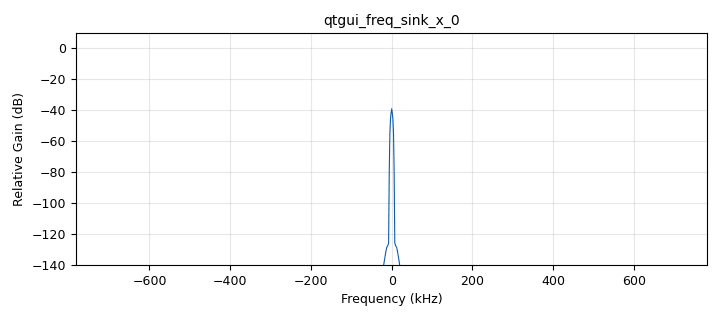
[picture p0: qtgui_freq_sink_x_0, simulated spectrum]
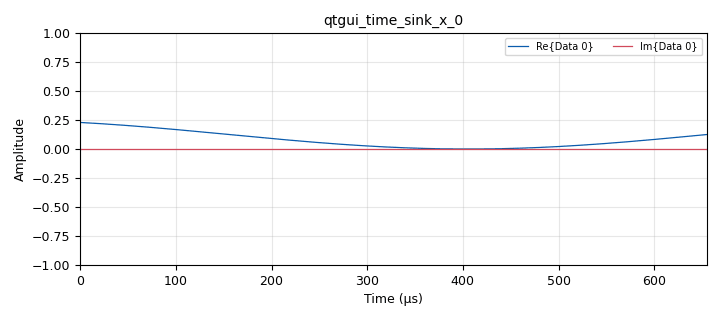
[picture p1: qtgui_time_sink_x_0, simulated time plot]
options:
  parameters:
    author: labcomu
    generate_options: qt_gui
    id: AM
    output_language: python
    title: Not titled yet
  states: {}

blocks:
- name: Ac
  id: variable_qtgui_range
  parameters:
    label: Amplitud de la portadora
    start: '0'
    step: '1e-3'
    stop: '1'
    value: '125e-3'
  states: {}
- name: Am
  id: variable_qtgui_range
  parameters:
    label: Amplitud del mensaje
    start: '0'
    step: '100e-3'
    stop: '4'
    value: '1'
  states: {}
- name: Am_0
  id: variable_qtgui_range
  parameters:
    label: Amplitud del mensaje
    start: '0'
    step: '100e-3'
    stop: '4'
    value: '1'
  states: {}
- name: B
  id: variable_qtgui_range
  parameters:
    label: Cambio de banda
    start: '-1'
    step: '2'
    stop: '1'
    value: '1'
  states: {}
- name: Fc
  id: variable_qtgui_range
  parameters:
    label: Frecuencia de portadora
    start: 50e6
    step: 1e6
    stop: 2.2e9
    value: 50e6
  states: {}
- name: Fm
  id: variable_qtgui_range
  parameters:
    label: Frecuencia del mensaje
    start: '300'
    step: '100'
    stop: samp_rate/4
    value: 1e3
  states: {}
- name: GTX
  id: variable_qtgui_range
  parameters:
    label: Ganancia de transmisión
    start: '0'
    step: '1'
    stop: '30'
    value: '0'
  states: {}
- name: K
  id: variable_qtgui_range
  parameters:
    label: Habilita portadora
    start: '0'
    step: '1'
    stop: '1'
    value: '1'
  states: {}
- name: samp_rate
  id: variable
  parameters:
    value: 12500000/8
  states: {}
- name: Ac
  id: parameter
  parameters:
    label: Amplitud portadora
    type: complex
    value: '1'
  states: {state: disabled}
- name: analog_sig_source_x_0
  id: analog_sig_source_x
  parameters:
    amp: Am
    freq: Fm
    offset: '0'
    phase: '0'
    samp_rate: samp_rate
    type: float
    waveform: analog.GR_SIN_WAVE
  states: {}
- name: blocks_add_const_vxx_0
  id: blocks_add_const_vxx
  parameters:
    alias: blovks_add_const_vxx_0
    const: '1'
    type: float
  states: {}
- name: blocks_float_to_complex_0
  id: blocks_float_to_complex
  parameters: {}
  states: {}
- name: blocks_multiply_const_vxx_0
  id: blocks_multiply_const_vxx
  parameters:
    alias: blocks_multiply_const_vxx_0
    const: ka
    type: float
  states: {}
- name: blocks_multiply_const_vxx_1
  id: blocks_multiply_const_vxx
  parameters:
    alias: blocks_multiply_const_vxx_1
    const: Ac
    type: complex
  states: {}
- name: blocks_null_source_0
  id: blocks_null_source
  parameters:
    alias: blocks_null_source_0
    type: float
  states: {}
- name: ka
  id: parameter
  parameters:
    label: Coeficiente ka
    type: eng_float
    value: '1'
  states: {}
- name: qtgui_freq_sink_x_0
  id: qtgui_freq_sink_x
  parameters:
    bw: samp_rate
    fc: '0'
    fftsize: '1024'
    type: complex
  states: {}
- name: qtgui_time_sink_x_0
  id: qtgui_time_sink_x
  parameters:
    size: '1024'
    srate: samp_rate
    type: complex
  states: {}
- name: uhd_usrp_sink_0
  id: uhd_usrp_sink
  parameters:
    ant0: '"TX/RX"'
    center_freq0: Fc
    gain0: GTX
    samp_rate: samp_rate
    sync: pc_clock
    type: fc32
  states: {}

connections:
- [analog_sig_source_x_0, '0', blocks_multiply_const_vxx_0, '0']
- [blocks_add_const_vxx_0, '0', blocks_float_to_complex_0, '0']
- [blocks_float_to_complex_0, '0', blocks_multiply_const_vxx_1, '0']
- [blocks_multiply_const_vxx_0, '0', blocks_add_const_vxx_0, '0']
- [blocks_multiply_const_vxx_1, '0', qtgui_freq_sink_x_0, '0']
- [blocks_multiply_const_vxx_1, '0', qtgui_time_sink_x_0, '0']
- [blocks_multiply_const_vxx_1, '0', uhd_usrp_sink_0, '0']
- [blocks_null_source_0, '0', blocks_float_to_complex_0, '1']

metadata:
  file_format: 1
  grc_version: v3.11.0.0git-810-g1ecb8565
